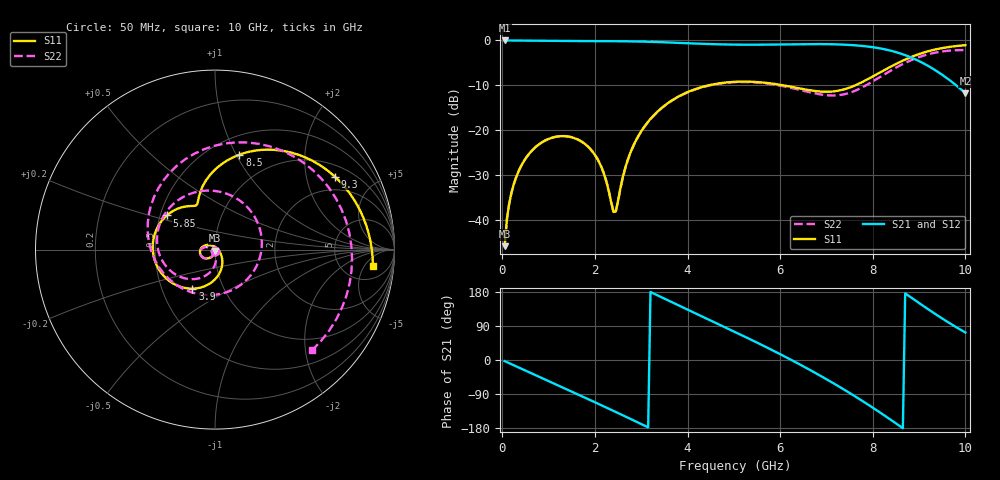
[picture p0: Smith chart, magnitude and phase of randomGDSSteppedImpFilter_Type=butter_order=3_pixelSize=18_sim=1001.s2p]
! freq	dB(S11)	phase(S11)	dB(S12)	phase(S12)
!  dB(S21)	phase(S21)	dB(S22)	phase(S22)
!S-par simulation data
#  GHz  S  DB  R 50
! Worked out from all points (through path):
!   200 points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, 50 MHz to 10 GHz, reference 50 ohm
!   highest |S21| = -0.01 dB at 50 MHz (marker M1); lowest = -11.8 dB at 10 GHz (marker M2)
!   group delay of S21, straight-line fit = 177 ps
!   lowest |S11| = -45.8 dB at 50 MHz (marker M3), VSWR 1.01, Z = 50 - j0.51 ohm
!   |S11| at or under -10 dB: start of sweep to 4.46 GHz; 6.062 GHz to 7.623 GHz (1.561 GHz wide, 22.8 % of centre)
!   |S22| runs from -45.8 to -2.2 dB; largest |S21 - S12| = 0
!   S11 on the Smith chart (normalised r, x): 50 MHz: 1.00, -0.01; 3.9 GHz: 0.71, -0.33; 5.85 GHz: 0.54, +0.23; 8.5 GHz: 0.68, +1.03; 9.3 GHz: 1.41, +2.95; 10 GHz: 9, -8
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0.05  -45.85 -88.4  -0.01 -2.8  -0.01 -2.8  -45.84 -88.4
0.2  -33.87 -100.2  -0.02 -11.2  -0.02 -11.2  -33.86 -100.0
0.55  -25.65 -121.2  -0.06 -30.7  -0.06 -30.7  -25.64 -120.6
1.2  -21.40 -158.5  -0.11 -66.8  -0.11 -66.8  -21.38 -156.5
1.75  -22.81 168.3  -0.14 -97.4  -0.14 -97.4  -22.78 175.2
2.1  -27.34 141.9  -0.15 -117.1  -0.15 -117.1  -27.25 162.0
2.45  -38.12 29.6  -0.17 -137.1  -0.17 -137.1  -38.18 -128.1
2.8  -24.16 -50.8  -0.21 -157.3  -0.21 -157.3  -24.26 -85.6
3.4  -15.41 -91.4  -0.38 167.8  -0.38 167.8  -15.47 -114.3
3.9  -12.00 -120.0  -0.58 138.7  -0.58 138.7  -12.05 -143.4
4.5  -9.91 -152.0  -0.82 104.2  -0.82 104.2  -9.97 180.0
5.05  -9.21 -179.5  -0.94 72.4  -0.94 72.4  -9.29 144.4
5.85  -9.65 144.6  -0.92 24.7  -0.92 24.7  -9.80 85.3
6.7  -11.20 118.1  -0.82 -30.1  -0.82 -30.1  -11.69 2.6
7.55  -10.31 107.2  -1.04 -90.8  -1.04 -90.8  -11.49 -112.6
8  -8.04 96.4  -1.51 -125.8  -1.51 -125.8  -9.13 -175.7
8.35  -6.06 82.7  -2.19 -154.6  -2.19 -154.6  -6.95 138.9
8.5  -5.25 75.6  -2.60 -167.2  -2.60 -167.2  -6.07 120.4
8.9  -3.42 54.2  -4.12 158.8  -4.12 158.8  -4.10 73.1
9.3  -2.14 31.4  -6.32 125.4  -6.32 125.4  -2.83 28.5
9.65  -1.45 12.0  -8.78 97.9  -8.78 97.9  -2.28 -8.8
10  -1.07 -6.0  -11.75 72.5  -11.75 72.5  -2.17 -45.8
